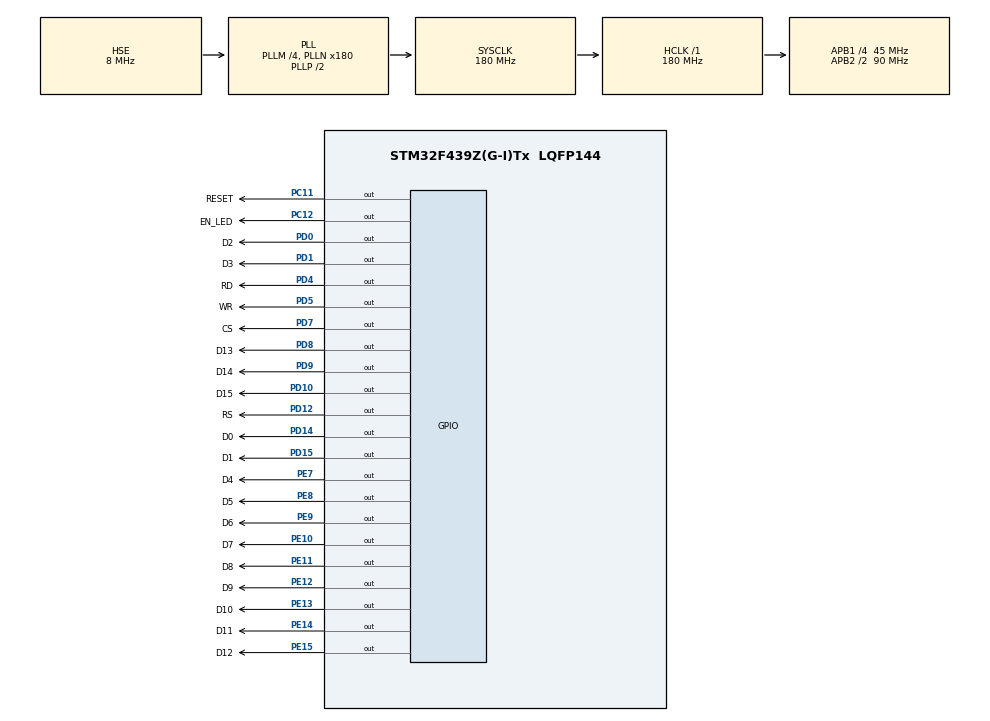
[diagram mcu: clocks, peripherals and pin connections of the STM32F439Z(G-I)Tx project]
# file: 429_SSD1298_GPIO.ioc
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Mcu.Family=STM32F4
Mcu.Name=STM32F439Z(G-I)Tx
Mcu.Package=LQFP144
NVIC.PriorityGroup=NVIC_PRIORITYGROUP_4
PA13.Mode=Serial_Wire
PA13.Signal=SYS_JTMS-SWDIO
PA14.Mode=Serial_Wire
PA14.Signal=SYS_JTCK-SWCLK
PC11.GPIO_Label=RESET
PC11.GPIO_PuPd=GPIO_PULLUP
PC11.GPIO_Speed=GPIO_SPEED_FREQ_VERY_HIGH
PC11.PinState=GPIO_PIN_RESET
PC11.Signal=GPIO_Output
PC12.GPIO_Label=EN_LED
PC12.GPIO_PuPd=GPIO_PULLUP
PC12.GPIO_Speed=GPIO_SPEED_FREQ_VERY_HIGH
PC12.Signal=GPIO_Output
PD0.GPIO_Label=D2
PD0.GPIO_PuPd=GPIO_PULLUP
PD0.GPIO_Speed=GPIO_SPEED_FREQ_VERY_HIGH
PD0.Signal=GPIO_Output
PD1.GPIO_Label=D3
PD1.GPIO_PuPd=GPIO_PULLUP
PD1.GPIO_Speed=GPIO_SPEED_FREQ_VERY_HIGH
PD1.Signal=GPIO_Output
PD10.GPIO_Label=D15
PD10.GPIO_PuPd=GPIO_PULLUP
PD10.GPIO_Speed=GPIO_SPEED_FREQ_VERY_HIGH
PD10.Signal=GPIO_Output
PD12.GPIO_Label=RS
PD12.GPIO_PuPd=GPIO_PULLUP
PD12.GPIO_Speed=GPIO_SPEED_FREQ_VERY_HIGH
PD12.Signal=GPIO_Output
PD14.GPIO_Label=D0
PD14.GPIO_PuPd=GPIO_PULLUP
PD14.GPIO_Speed=GPIO_SPEED_FREQ_VERY_HIGH
PD14.Signal=GPIO_Output
PD15.GPIO_Label=D1
PD15.GPIO_PuPd=GPIO_PULLUP
PD15.GPIO_Speed=GPIO_SPEED_FREQ_VERY_HIGH
PD15.Signal=GPIO_Output
PD4.GPIO_Label=RD
PD4.GPIO_PuPd=GPIO_PULLUP
PD4.GPIO_Speed=GPIO_SPEED_FREQ_VERY_HIGH
PD4.Signal=GPIO_Output
PD5.GPIO_Label=WR
PD5.GPIO_PuPd=GPIO_PULLUP
PD5.GPIO_Speed=GPIO_SPEED_FREQ_VERY_HIGH
PD5.Signal=GPIO_Output
PD7.GPIO_Label=CS
PD7.GPIO_PuPd=GPIO_PULLUP
PD7.GPIO_Speed=GPIO_SPEED_FREQ_VERY_HIGH
PD7.Signal=GPIO_Output
PD8.GPIO_Label=D13
PD8.GPIO_PuPd=GPIO_PULLUP
PD8.GPIO_Speed=GPIO_SPEED_FREQ_VERY_HIGH
PD8.Signal=GPIO_Output
PD9.GPIO_Label=D14
PD9.GPIO_PuPd=GPIO_PULLUP
PD9.GPIO_Speed=GPIO_SPEED_FREQ_VERY_HIGH
PD9.Signal=GPIO_Output
PE10.GPIO_Label=D7
PE10.GPIO_PuPd=GPIO_PULLUP
PE10.GPIO_Speed=GPIO_SPEED_FREQ_VERY_HIGH
PE10.Signal=GPIO_Output
PE11.GPIO_Label=D8
PE11.GPIO_PuPd=GPIO_PULLUP
PE11.GPIO_Speed=GPIO_SPEED_FREQ_VERY_HIGH
PE11.Signal=GPIO_Output
PE12.GPIO_Label=D9
PE12.GPIO_PuPd=GPIO_PULLUP
PE12.GPIO_Speed=GPIO_SPEED_FREQ_VERY_HIGH
PE12.Signal=GPIO_Output
PE13.GPIO_Label=D10
PE13.GPIO_PuPd=GPIO_PULLUP
PE13.GPIO_Speed=GPIO_SPEED_FREQ_VERY_HIGH
PE13.Signal=GPIO_Output
PE14.GPIO_Label=D11
PE14.GPIO_PuPd=GPIO_PULLUP
PE14.GPIO_Speed=GPIO_SPEED_FREQ_VERY_HIGH
PE14.Signal=GPIO_Output
PE15.GPIO_Label=D12
PE15.GPIO_PuPd=GPIO_PULLUP
PE15.GPIO_Speed=GPIO_SPEED_FREQ_VERY_HIGH
PE15.Signal=GPIO_Output
PE7.GPIO_Label=D4
PE7.GPIO_PuPd=GPIO_PULLUP
PE7.GPIO_Speed=GPIO_SPEED_FREQ_VERY_HIGH
PE7.Signal=GPIO_Output
PE8.GPIO_Label=D5
PE8.GPIO_PuPd=GPIO_PULLUP
PE8.GPIO_Speed=GPIO_SPEED_FREQ_VERY_HIGH
PE8.Signal=GPIO_Output
PE9.GPIO_Label=D6
PE9.GPIO_PuPd=GPIO_PULLUP
PE9.GPIO_Speed=GPIO_SPEED_FREQ_VERY_HIGH
PE9.Signal=GPIO_Output
PH0/OSC_IN.Mode=HSE-External-Oscillator
PH0/OSC_IN.Signal=RCC_OSC_IN
PH1/OSC_OUT.Mode=HSE-External-Oscillator
PH1/OSC_OUT.Signal=RCC_OSC_OUT
ProjectManager.HeapSize=0x200
ProjectManager.StackSize=0x400
ProjectManager.TargetToolchain=MDK-ARM V5
RCC.48MHZClocksFreq_Value=90000000
RCC.AHBFreq_Value=180000000
RCC.APB1CLKDivider=RCC_HCLK_DIV4
RCC.APB1Freq_Value=45000000
RCC.APB1TimFreq_Value=90000000
RCC.APB2CLKDivider=RCC_HCLK_DIV2
RCC.APB2Freq_Value=90000000
RCC.APB2TimFreq_Value=180000000
RCC.CortexFreq_Value=180000000
RCC.HCLKFreq_Value=180000000
RCC.HSE_Timout=500
RCC.HSE_VALUE=8000000
RCC.HSI_VALUE=16000000
RCC.LSE_VALUE=32768
RCC.PLLM=4
RCC.PLLN=180
RCC.PLLSourceVirtual=RCC_PLLSOURCE_HSE
RCC.SYSCLKFreq_VALUE=180000000
RCC.SYSCLKSource=RCC_SYSCLKSOURCE_PLLCLK
RCC.VCOOutputFreq_Value=360000000
board=429_SSD1298_GPIO

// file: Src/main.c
/**
  ******************************************************************************
  * File Name          : main.c
  * Description        : Main program body
  ******************************************************************************
  *
  * COPYRIGHT(c) 2016 STMicroelectronics
  *
  * Redistribution and use in source and binary forms, with or without modification,
  * are permitted provided that the following conditions are met:
  *   1. Redistributions of source code must retain the above copyright notice,
  *      this list of conditions and the following disclaimer.
  *   2. Redistributions in binary form must reproduce the above copyright notice,
  *      this list of conditions and the following disclaimer in the documentation
  *      and/or other materials provided with the distribution.
  *   3. Neither the name of STMicroelectronics nor the names of its contributors
  *      may be used to endorse or promote products derived from this software
  *      without specific prior written permission.
  *
  * THIS SOFTWARE IS PROVIDED BY THE COPYRIGHT HOLDERS AND CONTRIBUTORS "AS IS"
  * AND ANY EXPRESS OR IMPLIED WARRANTIES, INCLUDING, BUT NOT LIMITED TO, THE
  * IMPLIED WARRANTIES OF MERCHANTABILITY AND FITNESS FOR A PARTICULAR PURPOSE ARE
  * DISCLAIMED. IN NO EVENT SHALL THE COPYRIGHT HOLDER OR CONTRIBUTORS BE LIABLE
  * FOR ANY DIRECT, INDIRECT, INCIDENTAL, SPECIAL, EXEMPLARY, OR CONSEQUENTIAL
  * DAMAGES (INCLUDING, BUT NOT LIMITED TO, PROCUREMENT OF SUBSTITUTE GOODS OR
  * SERVICES; LOSS OF USE, DATA, OR PROFITS; OR BUSINESS INTERRUPTION) HOWEVER
  * CAUSED AND ON ANY THEORY OF LIABILITY, WHETHER IN CONTRACT, STRICT LIABILITY,
  * OR TORT (INCLUDING NEGLIGENCE OR OTHERWISE) ARISING IN ANY WAY OUT OF THE USE
  * OF THIS SOFTWARE, EVEN IF ADVISED OF THE POSSIBILITY OF SUCH DAMAGE.
  *
  ******************************************************************************
  */
#include "main.h"
#include "stm32f4xx_hal.h"

/* USER CODE BEGIN Includes */
#include "NewFont.h"
/* USER CODE END Includes */

/* USER CODE BEGIN PV */
/* Private variables ---------------------------------------------------------*/
  uint16_t Display_ID;
  uint32_t X;  // Эти две переменные у меня глобальные
  uint32_t Y; // от них ведется отсчет для следующего вывода букв
  uint32_t paper=0x0000, ink=0xffff; // Глобальные переменные - цвет фона и буквы  0000 - black  ffff - white

  uint16_t value[16]={0};
  uint16_t read_data;
/* USER CODE END PV */

void SystemClock_Config(void);
void Error_Handler(void);
static void MX_GPIO_Init(void);

/* USER CODE BEGIN PFP */
/* Private function prototypes -----------------------------------------------*/
void Delay_mks(void){
//uint32_t delay = 5;
//while(delay!=0){delay--;}
}

void MX_GPIO_Init_input(void)
{
  GPIO_InitTypeDef GPIO_InitStruct;

  /*Configure GPIO pins : D4_Pin D5_Pin D6_Pin D7_Pin
                           D8_Pin D9_Pin D10_Pin D11_Pin
                           D12_Pin */
  GPIO_InitStruct.Pin = D4_Pin|D5_Pin|D6_Pin|D7_Pin
                          |D8_Pin|D9_Pin|D10_Pin|D11_Pin
                          |D12_Pin;
  GPIO_InitStruct.Mode = GPIO_MODE_INPUT;
  GPIO_InitStruct.Pull = GPIO_PULLUP;
  HAL_GPIO_Init(GPIOE, &GPIO_InitStruct);

  /*Configure GPIO pins : D13_Pin D14_Pin D15_Pin D0_Pin
                           D1_Pin D2_Pin D3_Pin */
  GPIO_InitStruct.Pin = D13_Pin|D14_Pin|D15_Pin|D0_Pin
                          |D1_Pin|D2_Pin|D3_Pin;
  GPIO_InitStruct.Mode = GPIO_MODE_INPUT;
  GPIO_InitStruct.Pull = GPIO_PULLUP;
  HAL_GPIO_Init(GPIOD, &GPIO_InitStruct);
}

void MX_GPIO_Init_out(void)
{

  GPIO_InitTypeDef GPIO_InitStruct;

  /*Configure GPIO pin Output Level */
  HAL_GPIO_WritePin(GPIOE, D4_Pin|D5_Pin|D6_Pin|D7_Pin
                          |D8_Pin|D9_Pin|D10_Pin|D11_Pin
                          |D12_Pin, GPIO_PIN_RESET);

  /*Configure GPIO pin Output Level */
  HAL_GPIO_WritePin(GPIOD, D13_Pin|D14_Pin|D15_Pin|RS_Pin
                          |D0_Pin|D1_Pin|D2_Pin|D3_Pin
                          , GPIO_PIN_RESET);

  /*Configure GPIO pins : D4_Pin D5_Pin D6_Pin D7_Pin
                           D8_Pin D9_Pin D10_Pin D11_Pin
                           D12_Pin */
  GPIO_InitStruct.Pin = D4_Pin|D5_Pin|D6_Pin|D7_Pin
                          |D8_Pin|D9_Pin|D10_Pin|D11_Pin
                          |D12_Pin;
  GPIO_InitStruct.Mode = GPIO_MODE_OUTPUT_PP;
  GPIO_InitStruct.Pull = GPIO_PULLUP;
  GPIO_InitStruct.Speed = GPIO_SPEED_FREQ_VERY_HIGH;
  HAL_GPIO_Init(GPIOE, &GPIO_InitStruct);

  /*Configure GPIO pins : D13_Pin D14_Pin D15_Pin RS_Pin
                           D0_Pin D1_Pin D2_Pin D3_Pin
                           RD_Pin WR_Pin CS_Pin */
  GPIO_InitStruct.Pin = D13_Pin|D14_Pin|D15_Pin|RS_Pin
                          |D0_Pin|D1_Pin|D2_Pin|D3_Pin;
  GPIO_InitStruct.Mode = GPIO_MODE_OUTPUT_PP;
  GPIO_InitStruct.Pull = GPIO_PULLUP;
  GPIO_InitStruct.Speed = GPIO_SPEED_FREQ_VERY_HIGH;
  HAL_GPIO_Init(GPIOD, &GPIO_InitStruct);

}

// Процедура записи адреса регистра
void LCD_WriteIndex(uint16_t index){
HAL_GPIO_WritePin(RS_GPIO_Port, RS_Pin, GPIO_PIN_RESET);//  LCD_RS = 0; // Тип данных - команда (в данном случае адрес)
HAL_GPIO_WritePin(RD_GPIO_Port, RD_Pin, GPIO_PIN_SET);//LCD_RD = 1; // При записи RD должен быть стопудово равен 1, а то не запишет

if((index & 0x0001) == 0x0001){
HAL_GPIO_WritePin(D0_GPIO_Port, D0_Pin, GPIO_PIN_SET);}
else{HAL_GPIO_WritePin(D0_GPIO_Port, D0_Pin, GPIO_PIN_RESET);}
if((index & 0x0002) == 0x0002){
HAL_GPIO_WritePin(D1_GPIO_Port, D1_Pin, GPIO_PIN_SET);}
else{HAL_GPIO_WritePin(D1_GPIO_Port, D1_Pin, GPIO_PIN_RESET);}
if((index & 0x0004) == 0x0004){
HAL_GPIO_WritePin(D2_GPIO_Port, D2_Pin, GPIO_PIN_SET);}
else{HAL_GPIO_WritePin(D2_GPIO_Port, D2_Pin, GPIO_PIN_RESET);}
if((index & 0x0008) == 0x0008){
HAL_GPIO_WritePin(D3_GPIO_Port, D3_Pin, GPIO_PIN_SET);}
else{HAL_GPIO_WritePin(D3_GPIO_Port, D3_Pin, GPIO_PIN_RESET);}
if((index & 0x0010) == 0x0010){
HAL_GPIO_WritePin(D4_GPIO_Port, D4_Pin, GPIO_PIN_SET);}
else{HAL_GPIO_WritePin(D4_GPIO_Port, D4_Pin, GPIO_PIN_RESET);}
if((index & 0x0020) == 0x0020){
HAL_GPIO_WritePin(D5_GPIO_Port, D5_Pin, GPIO_PIN_SET);}
else{HAL_GPIO_WritePin(D5_GPIO_Port, D5_Pin, GPIO_PIN_RESET);}
if((index & 0x0040) == 0x0040){
HAL_GPIO_WritePin(D6_GPIO_Port, D6_Pin, GPIO_PIN_SET);}
else{HAL_GPIO_WritePin(D6_GPIO_Port, D6_Pin, GPIO_PIN_RESET);}
if((index & 0x0080) == 0x0080){
HAL_GPIO_WritePin(D7_GPIO_Port, D7_Pin, GPIO_PIN_SET);}
else{HAL_GPIO_WritePin(D7_GPIO_Port, D7_Pin, GPIO_PIN_RESET);}
if((index & 0x0100) == 0x0100){
HAL_GPIO_WritePin(D8_GPIO_Port, D8_Pin, GPIO_PIN_SET);}
else{HAL_GPIO_WritePin(D8_GPIO_Port, D8_Pin, GPIO_PIN_RESET);}
if((index & 0x0200) == 0x0200){
HAL_GPIO_WritePin(D9_GPIO_Port, D9_Pin, GPIO_PIN_SET);}
else{HAL_GPIO_WritePin(D9_GPIO_Port, D9_Pin, GPIO_PIN_RESET);}
if((index & 0x0400) == 0x0400){
HAL_GPIO_WritePin(D10_GPIO_Port, D10_Pin, GPIO_PIN_SET);}
else{HAL_GPIO_WritePin(D10_GPIO_Port, D10_Pin, GPIO_PIN_RESET);}
if((index & 0x0800) == 0x0800){
HAL_GPIO_WritePin(D11_GPIO_Port, D11_Pin, GPIO_PIN_SET);}
else{HAL_GPIO_WritePin(D11_GPIO_Port, D11_Pin, GPIO_PIN_RESET);}
if((index & 0x1000) == 0x1000){
HAL_GPIO_WritePin(D12_GPIO_Port, D12_Pin, GPIO_PIN_SET);}
else{HAL_GPIO_WritePin(D12_GPIO_Port, D12_Pin, GPIO_PIN_RESET);}
if((index & 0x2000) == 0x2000){
HAL_GPIO_WritePin(D13_GPIO_Port, D13_Pin, GPIO_PIN_SET);}
else{HAL_GPIO_WritePin(D13_GPIO_Port, D13_Pin, GPIO_PIN_RESET);}
if((index & 0x4000) == 0x4000){
HAL_GPIO_WritePin(D14_GPIO_Port, D14_Pin, GPIO_PIN_SET);}
else{HAL_GPIO_WritePin(D14_GPIO_Port, D14_Pin, GPIO_PIN_RESET);}
if((index & 0x8000) == 0x8000){
HAL_GPIO_WritePin(D15_GPIO_Port, D15_Pin, GPIO_PIN_SET);}
else{HAL_GPIO_WritePin(D15_GPIO_Port, D15_Pin, GPIO_PIN_RESET);}

HAL_GPIO_WritePin(WR_GPIO_Port, WR_Pin, GPIO_PIN_RESET);//  LCD_WR = 0; // Следующие три строки - строб /WR
HAL_GPIO_WritePin(WR_GPIO_Port, WR_Pin, GPIO_PIN_SET);//LCD_WR = 1;
}

// Процедура записи данных в регистр или ОЗУ
void LCD_WriteData(uint16_t data){
HAL_GPIO_WritePin(RS_GPIO_Port, RS_Pin, GPIO_PIN_SET);//  LCD_RS = 1; // Тип данных - данные
HAL_GPIO_WritePin(RD_GPIO_Port, RD_Pin, GPIO_PIN_SET);//LCD_RD = 1; // При записи RD должен быть стопудово равен 1, а то не запишет

if((data & 0x0001) == 0x0001){
HAL_GPIO_WritePin(D0_GPIO_Port, D0_Pin, GPIO_PIN_SET);}
else{HAL_GPIO_WritePin(D0_GPIO_Port, D0_Pin, GPIO_PIN_RESET);}
if((data & 0x0002) == 0x0002){
HAL_GPIO_WritePin(D1_GPIO_Port, D1_Pin, GPIO_PIN_SET);}
else{HAL_GPIO_WritePin(D1_GPIO_Port, D1_Pin, GPIO_PIN_RESET);}
if((data & 0x0004) == 0x0004){
HAL_GPIO_WritePin(D2_GPIO_Port, D2_Pin, GPIO_PIN_SET);}
else{HAL_GPIO_WritePin(D2_GPIO_Port, D2_Pin, GPIO_PIN_RESET);}
if((data & 0x0008) == 0x0008){
HAL_GPIO_WritePin(D3_GPIO_Port, D3_Pin, GPIO_PIN_SET);}
else{HAL_GPIO_WritePin(D3_GPIO_Port, D3_Pin, GPIO_PIN_RESET);}
if((data & 0x0010) == 0x0010){
HAL_GPIO_WritePin(D4_GPIO_Port, D4_Pin, GPIO_PIN_SET);}
else{HAL_GPIO_WritePin(D4_GPIO_Port, D4_Pin, GPIO_PIN_RESET);}
if((data & 0x0020) == 0x0020){
HAL_GPIO_WritePin(D5_GPIO_Port, D5_Pin, GPIO_PIN_SET);}
else{HAL_GPIO_WritePin(D5_GPIO_Port, D5_Pin, GPIO_PIN_RESET);}
if((data & 0x0040) == 0x0040){
HAL_GPIO_WritePin(D6_GPIO_Port, D6_Pin, GPIO_PIN_SET);}
else{HAL_GPIO_WritePin(D6_GPIO_Port, D6_Pin, GPIO_PIN_RESET);}
if((data & 0x0080) == 0x0080){
HAL_GPIO_WritePin(D7_GPIO_Port, D7_Pin, GPIO_PIN_SET);}
else{HAL_GPIO_WritePin(D7_GPIO_Port, D7_Pin, GPIO_PIN_RESET);}
if((data & 0x0100) == 0x0100){
HAL_GPIO_WritePin(D8_GPIO_Port, D8_Pin, GPIO_PIN_SET);}
else{HAL_GPIO_WritePin(D8_GPIO_Port, D8_Pin, GPIO_PIN_RESET);}
if((data & 0x0200) == 0x0200){
HAL_GPIO_WritePin(D9_GPIO_Port, D9_Pin, GPIO_PIN_SET);}
else{HAL_GPIO_WritePin(D9_GPIO_Port, D9_Pin, GPIO_PIN_RESET);}
if((data & 0x0400) == 0x0400){
HAL_GPIO_WritePin(D10_GPIO_Port, D10_Pin, GPIO_PIN_SET);}
else{HAL_GPIO_WritePin(D10_GPIO_Port, D10_Pin, GPIO_PIN_RESET);}
if((data & 0x0800) == 0x0800){
HAL_GPIO_WritePin(D11_GPIO_Port, D11_Pin, GPIO_PIN_SET);}
else{HAL_GPIO_WritePin(D11_GPIO_Port, D11_Pin, GPIO_PIN_RESET);}
if((data & 0x1000) == 0x1000){
HAL_GPIO_WritePin(D12_GPIO_Port, D12_Pin, GPIO_PIN_SET);}
else{HAL_GPIO_WritePin(D12_GPIO_Port, D12_Pin, GPIO_PIN_RESET);}
if((data & 0x2000) == 0x2000){
HAL_GPIO_WritePin(D13_GPIO_Port, D13_Pin, GPIO_PIN_SET);}
else{HAL_GPIO_WritePin(D13_GPIO_Port, D13_Pin, GPIO_PIN_RESET);}
if((data & 0x4000) == 0x4000){
HAL_GPIO_WritePin(D14_GPIO_Port, D14_Pin, GPIO_PIN_SET);}
else{HAL_GPIO_WritePin(D14_GPIO_Port, D14_Pin, GPIO_PIN_RESET);}
if((data & 0x8000) == 0x8000){
HAL_GPIO_WritePin(D15_GPIO_Port, D15_Pin, GPIO_PIN_SET);}
else{HAL_GPIO_WritePin(D15_GPIO_Port, D15_Pin, GPIO_PIN_RESET);}

HAL_GPIO_WritePin(WR_GPIO_Port, WR_Pin, GPIO_PIN_RESET);//  LCD_WR = 0; // Следующие три строки - строб /WR
HAL_GPIO_WritePin(WR_GPIO_Port, WR_Pin, GPIO_PIN_SET);//LCD_WR = 1;
}

void LCD_WriteReg(uint16_t LCD_Reg, uint16_t LCD_RegValue){
HAL_GPIO_WritePin(CS_GPIO_Port, CS_Pin, GPIO_PIN_RESET);//  LCD_CS = 0; // Активируем Chip Select
  LCD_WriteIndex(LCD_Reg);  // Пишем адрес регистра
  LCD_WriteData(LCD_RegValue);  // Пишем в него данные
HAL_GPIO_WritePin(CS_GPIO_Port, CS_Pin, GPIO_PIN_SET);//  LCD_CS = 1; // Деактивируем Chip Select
}

// Процедура чтения из регистра или ОЗУ
uint16_t LCD_ReadReg(uint16_t LCD_Reg){
  uint16_t reg_val;
  LCD_WriteIndex(LCD_Reg); // Пишем адрес регистра

HAL_GPIO_WritePin(WR_GPIO_Port, WR_Pin, GPIO_PIN_SET);//  LCD_WR = 1; // Вывод записи должен быть стопудово в 1
HAL_GPIO_WritePin(RD_GPIO_Port, RD_Pin, GPIO_PIN_RESET);//  LCD_RD = 0; // Выставляем сигнал чтения
HAL_GPIO_WritePin(CS_GPIO_Port, CS_Pin, GPIO_PIN_RESET);//LCD_CS = 0; // Активируем Chip Select
MX_GPIO_Init_input();
//Delay_mks();
value[0] = HAL_GPIO_ReadPin(D0_GPIO_Port, D0_Pin);
value[1] = HAL_GPIO_ReadPin(D1_GPIO_Port, D1_Pin);
value[2] = HAL_GPIO_ReadPin(D2_GPIO_Port, D2_Pin);
value[3] = HAL_GPIO_ReadPin(D3_GPIO_Port, D3_Pin);
value[4] = HAL_GPIO_ReadPin(D4_GPIO_Port, D4_Pin);
value[5] = HAL_GPIO_ReadPin(D5_GPIO_Port, D5_Pin);
value[6] = HAL_GPIO_ReadPin(D6_GPIO_Port, D6_Pin);
value[7] = HAL_GPIO_ReadPin(D7_GPIO_Port, D7_Pin);
value[8] = HAL_GPIO_ReadPin(D8_GPIO_Port, D8_Pin);
value[9] = HAL_GPIO_ReadPin(D9_GPIO_Port, D9_Pin);
value[10] = HAL_GPIO_ReadPin(D10_GPIO_Port, D10_Pin);
value[11] = HAL_GPIO_ReadPin(D11_GPIO_Port, D11_Pin);
value[12] = HAL_GPIO_ReadPin(D12_GPIO_Port, D12_Pin);
value[13] = HAL_GPIO_ReadPin(D13_GPIO_Port, D13_Pin);
value[14] = HAL_GPIO_ReadPin(D14_GPIO_Port, D14_Pin);
value[15] = HAL_GPIO_ReadPin(D15_GPIO_Port, D15_Pin);
read_data = 0;
read_data = (value[0]) || read_data;
read_data = (value[1] << 1) | read_data;
read_data = (value[2] << 2) | read_data;
read_data = (value[3] << 3) | read_data;
read_data = (value[4] << 4) | read_data;
read_data = (value[5] << 5) | read_data;
read_data = (value[6] << 6) | read_data;
read_data = (value[7] << 7) | read_data;
read_data = (value[8] << 8) | read_data;
read_data = (value[9] << 9) | read_data;
read_data = (value[10] << 10) | read_data;
read_data = (value[11] << 11) | read_data;
read_data = (value[12] << 12) | read_data;
read_data = (value[13] << 13) | read_data;
read_data = (value[14] << 14) | read_data;
read_data = (value[15] << 15) | read_data;

HAL_GPIO_WritePin(CS_GPIO_Port, CS_Pin, GPIO_PIN_SET);//  LCD_CS = 1; // Деактивируем Chip Select
MX_GPIO_Init_out();
HAL_GPIO_WritePin(RD_GPIO_Port, RD_Pin, GPIO_PIN_SET);// LCD_RD = 1;   // Сбрасываем линию RD
//return read_data;
reg_val = read_data;

  return reg_val;
}

////////////////////////////////////////////////
void LCD_Initializtion(void){
  HAL_Delay(100);  // Выжидаем некоторое время (может потребоваться на больших частотах)
//  LCD_RES = 1;    // Деактивируем аппаратный сброс, который был активирован при настройке портов МК
  // Теперь записываем данные для настройки контроллера дисплея
  // Эти параметры я брал в интернете. Сначала происходит настрока внутреннего преобразователя
  // для питания стекляшки. Эти параметры я менять не советую...
  LCD_WriteReg(0x0028,0x0006);  // VCOM OTP
  LCD_WriteReg(0x0000,0x0001);  // Oscillation start
  LCD_WriteReg(0x0003,0xaea4);  // power control 1---line frequency and VHG,VGL voltage
  LCD_WriteReg(0x000c,0x0004);  // power control 2---VCIX2 output voltage
  LCD_WriteReg(0x000d,0x000c);  // power control 3---Vlcd63 voltage
  LCD_WriteReg(0x000e,0x2800);  // power control 4---VCOMA voltage VCOML=VCOMH*0.9475-VCOMA
  LCD_WriteReg(0x001e,0x00b5);  // POWER CONTROL 5---VCOMH voltage
  // Следующие параметры описаны в ДШ на стр. 30-31. Они определяют порядок сканирования строк,
  // порядок вывода цветов и др.
  LCD_WriteReg(0x0001,0x3B3F);  // Driver Output Control
  // Следующую строку также менять не советую
  LCD_WriteReg(0x0002,0x0600);  // LCD Drive AC Control
  // Регистр управления режимом Sleep. Может понадобиться для устройств с батарейным питанием
  // Для справки: Дисплей потребляет от 2,5 до 8 мА в активном режиме
  // и от 70 до 300 мкА в спящем (стр. 63 ДШ)
  LCD_WriteReg(0x0010,0x0000);  // Sleep Mode
  // Режим позиционирования и направления сканирования дисплея.
  // Для данных значений при расположении дисплея в Landscape контроллер справа
  // нижний левый угол будет иметь координаты 0,0
  // Я такие значения применил для вывода изображений из BMP файлов

  // Для Portrait положения дисплея строка будет иметь вид LCD_WriteReg(0x0011,0x6830);
  // Более подробно по данной установке можно прочитать на стр. 43-46 ДШ
  LCD_WriteReg(0x0011,0x6838);  // Entry Mode
  // Не нашел этих параметров в ДШ, но переписывать не стал...
  LCD_WriteReg(0x0005,0x0000);  // ???
  LCD_WriteReg(0x0006,0x0000);  // ???
  LCD_WriteReg(0x0016,0xef1c);  // ???
  // Следующие настройки можно посмотреть на стр. 39 ДШ
  LCD_WriteReg(0x0007,0x0033);  // Display control 1
    /* when GON=1 and DTE=0,all gate outputs become VGL */
    /* when GON=1 and DTE=0,all gate outputs become VGH */
    /* non-selected gate wires become VGL */
  // Далее расположены настройки размера видимой области дисплея. Их можно менять
  // по ходу работы при необходимости вывода в определенную область экрана
  LCD_WriteReg(0x000b,0x0000);  // Frame Cycle Control
  LCD_WriteReg(0x000f,0x0000);  // Gate Scan Start Position
  LCD_WriteReg(0x0041,0x0000);  // Vertical Scroll Control 1
  LCD_WriteReg(0x0042,0x0000);  // Vertical Scroll Control 2
  LCD_WriteReg(0x0048,0x0000);  // First Window Start
  LCD_WriteReg(0x0049,0x013f);  // First Window End
  LCD_WriteReg(0x004a,0x0000);  // Second Window Start
  LCD_WriteReg(0x004b,0x0000);  // Second Window End
  LCD_WriteReg(0x0044,0xef00);  // Horizontal RAM start and end address
  LCD_WriteReg(0x0045,0x0000);  // Vertical RAM start address
  LCD_WriteReg(0x0046,0x013f);  // Vertical RAM end address
  // Счетчики строк и столбцов. Я их меняю функцией LCD_SetCursor
  LCD_WriteReg(0x004e,0x0000);  // Set GDDRAM X address counter
  LCD_WriteReg(0x004f,0x0000);  // Set GDDRAM Y address counter
  // Управление гаммой цветов. Для предотвращения искажения не рекомендую менять их
  LCD_WriteReg(0x0030,0x0707);
  LCD_WriteReg(0x0031,0x0202);
  LCD_WriteReg(0x0032,0x0204);
  LCD_WriteReg(0x0033,0x0502);
  LCD_WriteReg(0x0034,0x0507);
  LCD_WriteReg(0x0035,0x0204);
  LCD_WriteReg(0x0036,0x0204);
  LCD_WriteReg(0x0037,0x0502);
  LCD_WriteReg(0x003a,0x0302);
  LCD_WriteReg(0x003b,0x0302);
  LCD_WriteReg(0x0023,0x0000);
  LCD_WriteReg(0x0024,0x0000);
  LCD_WriteReg(0x0025,0x8000);
  LCD_WriteReg(0x0026,0x7000);
  LCD_WriteReg(0x0020,0xb0eb);
  LCD_WriteReg(0x0027,0x007c);
  // После выполнения этой процедуры дисплей должен включиться и на экране появится
  // мусор в виде случайным образом засвеченных точек
}

// Процедура установки адресных регистров контроллера дисплея
void LCD_SetCursor(unsigned int Xpos, unsigned int Ypos ){

  X = Xpos; // Обновляем их новыми значениями
  Y = Ypos;
  LCD_WriteReg(0x004e, Ypos );  // Записываем новые значения в счетчики строк
  LCD_WriteReg(0x004f, Xpos );  // и столбцов
}

// Функция очистки дисплея заливает весь экран цветом, указанным в аргументе Color
void LCD_Clear(uint16_t Color)
{
  unsigned long index=0;
  LCD_SetCursor(0,0);		// Устанавливаем курсор в начало
HAL_GPIO_WritePin(CS_GPIO_Port, CS_Pin, GPIO_PIN_RESET);//  LCD_CS = 0;			// Здесь запись организована "атомарно" для ускорения процедуры
  LCD_WriteIndex(0x0022); 	// Запись этого адреса в регистр индекса означает, что
                          	// сейчас будут выводиться данные в экранное ОЗУ
                          	// Как себя будут вести счетчики строк и столбцов определяется
                          	// регистром с адресом 0x0011
  for(index=0;index < 0x12C00;index++)
	{ 			// цикл с количеством итераций 320*240
    	LCD_WriteData(Color); 	// ставим точки заданного цвета
 	}
HAL_GPIO_WritePin(CS_GPIO_Port, CS_Pin, GPIO_PIN_SET);//  LCD_CS = 1;         		// Отцепляемся от дисплея
}

// Одна из сложнейших функций - вывод буквы в текущую позицию дисплея
void LCD_Putchar(uint16_t chr){  // Аргумент - код буквы
  uint8_t i, a, tmp;
  uint16_t addr;
  switch(chr){  // Так я организовал переход на новую строку
    case 10:
      Y -= 9;
    break;
    case 13:    // И "возврат каретки"
      X = 3;
    break;
    default:
      addr = chr << 3;
      tmp = Y;  // сохраняем позицию для возврата при отображении новой строки точек
      for(i=0;i<8;i++){     //Счетчик строки знакоместа
        LCD_WriteReg(0x004e,Y); // Установка координаты Y
HAL_GPIO_WritePin(CS_GPIO_Port, CS_Pin, GPIO_PIN_RESET);//        LCD_CS = 0;         // Выводим строку точек
        LCD_WriteIndex(0x0022);
        for(a=0;a<8;a++){   //Счетчик столбцов знакоместа
          if(NewFont8x8[addr+a]&(0x80>>i)){ // Если в знакоместе точка = 1
            LCD_WriteData(ink);     // Выводим цвет ink
          }else{
            LCD_WriteData(paper);   // Иначе цвет фона
          }
        }
HAL_GPIO_WritePin(CS_GPIO_Port, CS_Pin, GPIO_PIN_SET);//        LCD_CS = 1;
        Y++;  // Переходим на новую строку знакоместа
      }
      Y = tmp;  // Восстанавливаем значение буквы по вертикали
      // Ниже расположено вычисление ширины буквы для более плотного расположения текста на экране
      i = 3;
      for(a=7;a!=0;a--){
        if(NewFont8x8[addr+a] != 0x00){
          i = a + 2;
          break;
        }
      }
      // Переходим на новую строку если достигли правого края экрана
      X += i;
      if(X > 310){
        Y -= 9;
        X = 3;
      }
    break;
  }
  LCD_SetCursor(X, Y); // Координаты следует сохранить для вывода последующего символа
}

// Вывод строки на экран. В качестве аргумента - указатель на строку
void LCD_PutString(uint8_t* str){//
  uint16_t i=0;
  while(str[i]){  // Пока не встретим терминатора...
    LCD_Putchar(str[i]);
    i++;
  }
}

// Это я написал ввиду наличия строковых констант
void putString(const char* str){//
  uint16_t i=0;
  while(str[i]){
    LCD_Putchar(str[i]);
    i++;
  }
}

/* USER CODE END PFP */

int main(void)
{

  /* MCU Configuration----------------------------------------------------------*/

  /* Reset of all peripherals, Initializes the Flash interface and the Systick. */
  HAL_Init();

  /* Configure the system clock */
  SystemClock_Config();

  /* Initialize all configured peripherals */
  MX_GPIO_Init();

  /* USER CODE BEGIN 2 */
//while(1){
//HAL_GPIO_WritePin(RESET_GPIO_Port, RESET_Pin, GPIO_PIN_SET);
//HAL_GPIO_WritePin(RESET_GPIO_Port, RESET_Pin, GPIO_PIN_RESET);
//}

HAL_Delay(100);
HAL_GPIO_WritePin(RESET_GPIO_Port, RESET_Pin, GPIO_PIN_RESET);
HAL_GPIO_WritePin(EN_LED_GPIO_Port, EN_LED_Pin, GPIO_PIN_RESET);

HAL_GPIO_WritePin(CS_GPIO_Port, CS_Pin, GPIO_PIN_RESET);
HAL_GPIO_WritePin(WR_GPIO_Port, WR_Pin, GPIO_PIN_SET);
HAL_GPIO_WritePin(RD_GPIO_Port, RD_Pin, GPIO_PIN_SET);
HAL_GPIO_WritePin(RS_GPIO_Port, RS_Pin, GPIO_PIN_SET);

HAL_Delay(500);
HAL_GPIO_WritePin(EN_LED_GPIO_Port, EN_LED_Pin, GPIO_PIN_SET);
HAL_GPIO_WritePin(CS_GPIO_Port, CS_Pin, GPIO_PIN_SET);
HAL_GPIO_WritePin(RESET_GPIO_Port, RESET_Pin, GPIO_PIN_SET);
HAL_GPIO_WritePin(EN_LED_GPIO_Port, EN_LED_Pin, GPIO_PIN_SET);

LCD_Initializtion();
LCD_Clear(0x1234);
HAL_Delay(100);
LCD_Clear(0x4321);
HAL_Delay(100);
Display_ID = LCD_ReadReg(0);
  /* USER CODE END 2 */

  /* Infinite loop */
  /* USER CODE BEGIN WHILE */
  while (1)  {
for(uint16_t qqq=0; qqq <= 0xfffe; qqq++){
paper=4*qqq;
ink=0xFFFF-4*qqq;
  for(uint8_t iii=0;iii<=0xfe;iii++){
  LCD_Putchar(iii);}
}

//HAL_Delay(10);
  /* USER CODE END WHILE */

  }

}

/** System Clock Configuration
*/
void SystemClock_Config(void)
{

  RCC_OscInitTypeDef RCC_OscInitStruct;
  RCC_ClkInitTypeDef RCC_ClkInitStruct;

    /**Configure the main internal regulator output voltage
    */
  __HAL_RCC_PWR_CLK_ENABLE();

  __HAL_PWR_VOLTAGESCALING_CONFIG(PWR_REGULATOR_VOLTAGE_SCALE1);

    /**Initializes the CPU, AHB and APB busses clocks
    */
  RCC_OscInitStruct.OscillatorType = RCC_OSCILLATORTYPE_HSE;
  RCC_OscInitStruct.HSEState = RCC_HSE_ON;
  RCC_OscInitStruct.PLL.PLLState = RCC_PLL_ON;
  RCC_OscInitStruct.PLL.PLLSource = RCC_PLLSOURCE_HSE;
  RCC_OscInitStruct.PLL.PLLM = 4;
  RCC_OscInitStruct.PLL.PLLN = 180;
  RCC_OscInitStruct.PLL.PLLP = RCC_PLLP_DIV2;
  RCC_OscInitStruct.PLL.PLLQ = 4;
  if (HAL_RCC_OscConfig(&RCC_OscInitStruct) != HAL_OK)
  {
    Error_Handler();
  }

    /**Activate the Over-Drive mode
    */
  if (HAL_PWREx_EnableOverDrive() != HAL_OK)
  {
    Error_Handler();
  }

    /**Initializes the CPU, AHB and APB busses clocks
    */
  RCC_ClkInitStruct.ClockType = RCC_CLOCKTYPE_HCLK|RCC_CLOCKTYPE_SYSCLK
                              |RCC_CLOCKTYPE_PCLK1|RCC_CLOCKTYPE_PCLK2;
  RCC_ClkInitStruct.SYSCLKSource = RCC_SYSCLKSOURCE_PLLCLK;
  RCC_ClkInitStruct.AHBCLKDivider = RCC_SYSCLK_DIV1;
  RCC_ClkInitStruct.APB1CLKDivider = RCC_HCLK_DIV4;
  RCC_ClkInitStruct.APB2CLKDivider = RCC_HCLK_DIV2;

  if (HAL_RCC_ClockConfig(&RCC_ClkInitStruct, FLASH_LATENCY_5) != HAL_OK)
  {
    Error_Handler();
  }

    /**Configure the Systick interrupt time
    */
  HAL_SYSTICK_Config(HAL_RCC_GetHCLKFreq()/1000);

    /**Configure the Systick
    */
  HAL_SYSTICK_CLKSourceConfig(SYSTICK_CLKSOURCE_HCLK);

  /* SysTick_IRQn interrupt configuration */
  HAL_NVIC_SetPriority(SysTick_IRQn, 0, 0);
}

/** Configure pins as
        * Analog
        * Input
        * Output
        * EVENT_OUT
        * EXTI
*/
static void MX_GPIO_Init(void)
{

  GPIO_InitTypeDef GPIO_InitStruct;

  /* GPIO Ports Clock Enable */
  __HAL_RCC_GPIOH_CLK_ENABLE();
  __HAL_RCC_GPIOE_CLK_ENABLE();
  __HAL_RCC_GPIOD_CLK_ENABLE();
  __HAL_RCC_GPIOA_CLK_ENABLE();
  __HAL_RCC_GPIOC_CLK_ENABLE();

  /*Configure GPIO pin Output Level */
  HAL_GPIO_WritePin(GPIOE, D4_Pin|D5_Pin|D6_Pin|D7_Pin
                          |D8_Pin|D9_Pin|D10_Pin|D11_Pin
                          |D12_Pin, GPIO_PIN_RESET);

  /*Configure GPIO pin Output Level */
  HAL_GPIO_WritePin(GPIOD, D13_Pin|D14_Pin|D15_Pin|RS_Pin
                          |D0_Pin|D1_Pin|D2_Pin|D3_Pin
                          |RD_Pin|WR_Pin|CS_Pin, GPIO_PIN_RESET);

  /*Configure GPIO pin Output Level */
  HAL_GPIO_WritePin(GPIOC, RESET_Pin|EN_LED_Pin, GPIO_PIN_RESET);

  /*Configure GPIO pins : D4_Pin D5_Pin D6_Pin D7_Pin
                           D8_Pin D9_Pin D10_Pin D11_Pin
                           D12_Pin */
  GPIO_InitStruct.Pin = D4_Pin|D5_Pin|D6_Pin|D7_Pin
                          |D8_Pin|D9_Pin|D10_Pin|D11_Pin
                          |D12_Pin;
  GPIO_InitStruct.Mode = GPIO_MODE_OUTPUT_PP;
  GPIO_InitStruct.Pull = GPIO_PULLUP;
  GPIO_InitStruct.Speed = GPIO_SPEED_FREQ_VERY_HIGH;
  HAL_GPIO_Init(GPIOE, &GPIO_InitStruct);

  /*Configure GPIO pins : D13_Pin D14_Pin D15_Pin RS_Pin
                           D0_Pin D1_Pin D2_Pin D3_Pin
                           RD_Pin WR_Pin CS_Pin */
  GPIO_InitStruct.Pin = D13_Pin|D14_Pin|D15_Pin|RS_Pin
                          |D0_Pin|D1_Pin|D2_Pin|D3_Pin
                          |RD_Pin|WR_Pin|CS_Pin;
  GPIO_InitStruct.Mode = GPIO_MODE_OUTPUT_PP;
  GPIO_InitStruct.Pull = GPIO_PULLUP;
  GPIO_InitStruct.Speed = GPIO_SPEED_FREQ_VERY_HIGH;
  HAL_GPIO_Init(GPIOD, &GPIO_InitStruct);

  /*Configure GPIO pins : RESET_Pin EN_LED_Pin */
  GPIO_InitStruct.Pin = RESET_Pin|EN_LED_Pin;
  GPIO_InitStruct.Mode = GPIO_MODE_OUTPUT_PP;
  GPIO_InitStruct.Pull = GPIO_PULLUP;
  GPIO_InitStruct.Speed = GPIO_SPEED_FREQ_VERY_HIGH;
  HAL_GPIO_Init(GPIOC, &GPIO_InitStruct);

}

void Error_Handler(void)
{
  while(1)
  {
  }
}

/************************ (C) COPYRIGHT STMicroelectronics *****END OF FILE****/
